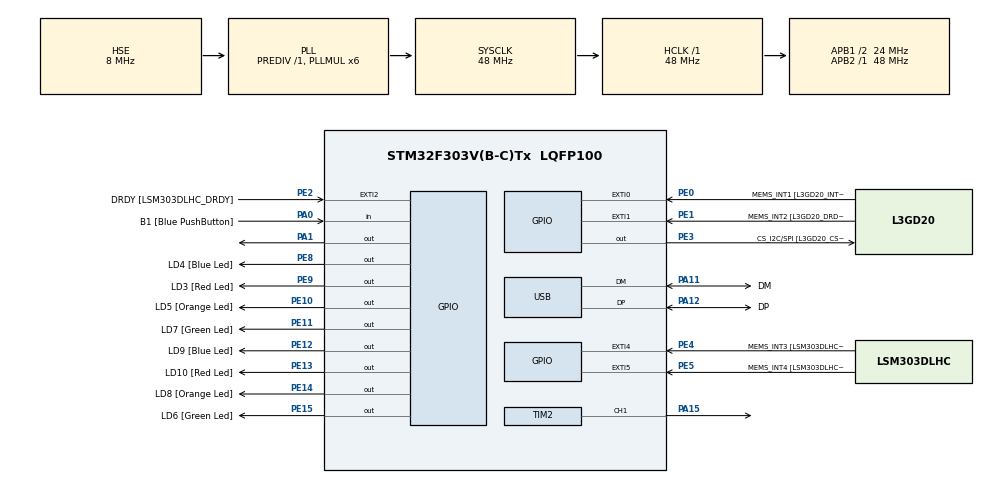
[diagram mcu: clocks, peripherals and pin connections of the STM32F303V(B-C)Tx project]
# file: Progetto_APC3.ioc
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Mcu.Family=STM32F3
Mcu.Name=STM32F303V(B-C)Tx
Mcu.Package=LQFP100
NVIC.PriorityGroup=NVIC_PRIORITYGROUP_0
NVIC.TIM7_IRQn=true\:0\:0\:false\:false\:true\:true\:true\:true
NVIC.USB_LP_CAN_RX0_IRQn=true\:0\:0\:false\:false\:true\:false\:true\:true
PA0.GPIO_Label=B1 [Blue PushButton]
PA0.Signal=GPIO_Input
PA1.Signal=GPIO_Output
PA11.GPIO_Label=DM
PA11.Mode=Device
PA11.Signal=USB_DM
PA12.GPIO_Label=DP
PA12.Mode=Device
PA12.Signal=USB_DP
PA13.GPIO_Label=SWDIO
PA13.Mode=Serial_Wire
PA13.Signal=SYS_JTMS-SWDIO
PA14.GPIO_Label=SWCLK
PA14.Mode=Serial_Wire
PA14.Signal=SYS_JTCK-SWCLK
PA15.Signal=S_TIM2_CH1_ETR
PA5.GPIO_Label=SPI1_SCK [L3GD20_SCL/SPC]
PA5.Signal=SPI1_SCK
PA6.GPIO_Label=SPI1_MISO [L3GD20_SA0/SDO]
PA6.Signal=SPI1_MISO
PA7.GPIO_Label=SPI1_MISO [L3GD20_SDA/SDI/SDO]
PA7.Signal=SPI1_MOSI
PB3.GPIO_Label=SWO
PB3.Signal=SYS_JTDO-TRACESWO
PB8.Signal=I2C1_SCL
PB9.Signal=I2C1_SDA
PC14-OSC32_IN.GPIO_Label=OSC32_IN
PC14-OSC32_IN.Signal=RCC_OSC32_IN
PC15-OSC32_OUT.GPIO_Label=OSC32_OUT
PC15-OSC32_OUT.Signal=RCC_OSC32_OUT
PE0.GPIO_Label=MEMS_INT1 [L3GD20_INT1]
PE0.GPIO_ModeDefaultEXTI=GPIO_MODE_EVT_RISING
PE0.Signal=GPXTI0
PE1.GPIO_Label=MEMS_INT2 [L3GD20_DRDY/INT2]
PE1.GPIO_ModeDefaultEXTI=GPIO_MODE_EVT_RISING
PE1.Signal=GPXTI1
PE10.GPIO_Label=LD5 [Orange Led]
PE10.Signal=GPIO_Output
PE11.GPIO_Label=LD7 [Green Led]
PE11.Signal=GPIO_Output
PE12.GPIO_Label=LD9 [Blue Led]
PE12.Signal=GPIO_Output
PE13.GPIO_Label=LD10 [Red Led]
PE13.Signal=GPIO_Output
PE14.GPIO_Label=LD8 [Orange Led]
PE14.Signal=GPIO_Output
PE15.GPIO_Label=LD6 [Green Led]
PE15.Signal=GPIO_Output
PE2.GPIO_Label=DRDY [LSM303DLHC_DRDY]
PE2.GPIO_ModeDefaultEXTI=GPIO_MODE_EVT_RISING
PE2.Signal=GPXTI2
PE3.GPIO_Label=CS_I2C/SPI [L3GD20_CS_I2C/SPI]
PE3.Signal=GPIO_Output
PE4.GPIO_Label=MEMS_INT3 [LSM303DLHC_INT1]
PE4.GPIO_ModeDefaultEXTI=GPIO_MODE_EVT_RISING
PE4.Signal=GPXTI4
PE5.GPIO_Label=MEMS_INT4 [LSM303DLHC_INT2]
PE5.GPIO_ModeDefaultEXTI=GPIO_MODE_EVT_RISING
PE5.Signal=GPXTI5
PE8.GPIO_Label=LD4 [Blue Led]
PE8.Signal=GPIO_Output
PE9.GPIO_Label=LD3 [Red Led]
PE9.Signal=GPIO_Output
PF0-OSC_IN.GPIO_Label=OSC_IN
PF0-OSC_IN.Mode=HSE-External-Oscillator
PF0-OSC_IN.Signal=RCC_OSC_IN
PF1-OSC_OUT.GPIO_Label=OSC_OUT
PF1-OSC_OUT.Mode=HSE-External-Oscillator
PF1-OSC_OUT.Signal=RCC_OSC_OUT
ProjectManager.HeapSize=0x200
ProjectManager.StackSize=0x400
ProjectManager.TargetToolchain=STM32CubeIDE
RCC.AHBFreq_Value=48000000
RCC.APB1CLKDivider=RCC_HCLK_DIV2
RCC.APB1Freq_Value=24000000
RCC.APB1TimFreq_Value=48000000
RCC.APB2Freq_Value=48000000
RCC.APB2TimFreq_Value=48000000
RCC.CortexFreq_Value=48000000
RCC.HCLKFreq_Value=48000000
RCC.HSE_VALUE=8000000
RCC.HSI_VALUE=8000000
RCC.LSE_VALUE=32768
RCC.PLLMUL=RCC_PLL_MUL6
RCC.SYSCLKFreq_VALUE=48000000
RCC.SYSCLKSourceVirtual=RCC_SYSCLKSOURCE_PLLCLK
RCC.USBFreq_Value=48000000
SH.S_TIM2_CH1_ETR.0=TIM2_CH1,PWM Generation1 CH1
TIM2.AutoReloadPreload=TIM_AUTORELOAD_PRELOAD_ENABLE
TIM2.Channel-PWM\ Generation1\ CH1=TIM_CHANNEL_1
TIM2.Period=20
TIM2.Prescaler=128-1
TIM6.Period=0xffff-1
TIM6.Prescaler=48-1
TIM7.Period=5000 - 1
TIM7.Prescaler=48000 - 1
USB_DEVICE.CLASS_NAME_FS=CDC
USB_DEVICE.VirtualMode=Cdc
USB_DEVICE.VirtualModeFS=Cdc_FS
VP_TIM2_VS_ClockSourceINT.Mode=Internal
VP_TIM6_VS_ClockSourceINT.Mode=Enable_Timer
VP_TIM7_VS_ClockSourceINT.Mode=Enable_Timer
VP_USB_DEVICE_VS_USB_DEVICE_CDC_FS.Mode=CDC_FS
board=STM32F3DISCOVERY

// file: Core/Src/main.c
/* USER CODE BEGIN Header */
/**
  ******************************************************************************
  * @file           : main.c
  * @brief          : Main program body
  ******************************************************************************
  * @attention
  *
  * Copyright (c) 2024 STMicroelectronics.
  * All rights reserved.
  *
  * This software is licensed under terms that can be found in the LICENSE file
  * in the root directory of this software component.
  * If no LICENSE file comes with this software, it is provided AS-IS.
  *
  ******************************************************************************
  */
/* USER CODE END Header */
#include "main.h"
#include "usb_device.h"

/* USER CODE BEGIN Includes */
#include "stdio.h"
#include "usbd_cdc_if.h"
/* USER CODE END Includes */

/* USER CODE BEGIN PD */
#define NUM_LED 8
#define DHT11_PORTA GPIOA
#define DHT11_PIN GPIO_PIN_1	// PA1
/* USER CODE END PD */

TIM_HandleTypeDef htim2;
TIM_HandleTypeDef htim6;
TIM_HandleTypeDef htim7;

/* USER CODE BEGIN PV */
uint8_t umid_1, umid_2, temp_1, temp_2;
uint16_t Checksum, UMID, TEMP;

float Temperatura = 0;
float Umidita = 0;
uint8_t Risultato = 0;

GPIO_TypeDef *LED_PORT = GPIOE;
uint16_t LED_PINS[NUM_LED] = {GPIO_PIN_8, GPIO_PIN_9, GPIO_PIN_10,
		GPIO_PIN_11, GPIO_PIN_12, GPIO_PIN_13, GPIO_PIN_14, GPIO_PIN_15};
/* USER CODE END PV */

void SystemClock_Config(void);
static void MX_GPIO_Init(void);
static void MX_TIM6_Init(void);
static void MX_TIM7_Init(void);
static void MX_TIM2_Init(void);

/* USER CODE BEGIN 0 */
void ritarda (uint16_t time)
{
	__HAL_TIM_SET_COUNTER(&htim6, 0);
	while ((__HAL_TIM_GET_COUNTER(&htim6))<time);
}

void invia_dati (float temp, float umid)
{
	char buffer[64];
	int length = sprintf(buffer, "Temperatura: %.2f; Umidita': %.2f\n",temp,umid);
	CDC_Transmit_FS((uint8_t*)buffer, length);
}

void aggiorna_led(float temperatura)
{
  uint8_t num_led_accesi = (uint8_t)(temperatura / 7.0);
  for (int i = 0; i < NUM_LED; i++)			// spegne tutti i LED
  {
    HAL_GPIO_WritePin(LED_PORT, LED_PINS[i], GPIO_PIN_RESET);
  }

  for (int i = 0; i < num_led_accesi; i++)	// accende un certo numero di LED
  {
    HAL_GPIO_WritePin(LED_PORT, LED_PINS[i], GPIO_PIN_SET);
  }
}

void set_pin_output (GPIO_TypeDef *GPIOx, uint16_t GPIO_Pin)
{
	GPIO_InitTypeDef GPIO_InitStruct = {0};
	GPIO_InitStruct.Pin = GPIO_Pin;
	GPIO_InitStruct.Mode = GPIO_MODE_OUTPUT_PP;	// mode: output
	GPIO_InitStruct.Speed = GPIO_SPEED_FREQ_LOW;
	HAL_GPIO_Init(GPIOx, &GPIO_InitStruct);
}

void set_pin_input (GPIO_TypeDef *GPIOx, uint16_t GPIO_Pin)
{
	GPIO_InitTypeDef GPIO_InitStruct = {0};
	GPIO_InitStruct.Pin = GPIO_Pin;
	GPIO_InitStruct.Mode = GPIO_MODE_INPUT;	// mode: input
	GPIO_InitStruct.Pull = GPIO_PULLUP;
	HAL_GPIO_Init(GPIOx, &GPIO_InitStruct);
}

void inizio_DHT11 ()
{
	set_pin_output (DHT11_PORTA, DHT11_PIN);		// setta il pin come output
	HAL_GPIO_WritePin (DHT11_PORTA, DHT11_PIN, 0);	// abbassa il pin
	ritarda (18000);								// aspetta per 18 ms
    HAL_GPIO_WritePin (DHT11_PORTA, DHT11_PIN, 1);	// alza il pin
    ritarda (20);									// aspetta per 20 us
	set_pin_input(DHT11_PORTA, DHT11_PIN);			// setta il pin come input
}

uint8_t controlla_risposta_DHT11 ()
{
	uint8_t risp = 0;
	ritarda (40);										// aspetta 40 us (in modo tale da mettersi al "centro")
	if (!(HAL_GPIO_ReadPin (DHT11_PORTA, DHT11_PIN)))	// controlla che il pin sia basso
	{
		ritarda (80);									// aspetta 80 us (sempre al "centro" del segnale)
		if ((HAL_GPIO_ReadPin (DHT11_PORTA, DHT11_PIN))) // controlla che il pin sia alto
			risp = 1;			// se è così, il sensore è presente
		else risp = -1;			// altrimenti, il sensore non è presente
	}
	while ((HAL_GPIO_ReadPin (DHT11_PORTA, DHT11_PIN)));	// aspetta che il pin torni basso
	return risp;
}

uint8_t leggi_DHT11 (void)
{
	uint8_t i,j;
	for (j=0;j<8;j++)
	{
		while (!(HAL_GPIO_ReadPin (DHT11_PORTA, DHT11_PIN)));	// aspetta che il pin sia alto
		ritarda (40);											// aspetta per 40 us
		if (!(HAL_GPIO_ReadPin (DHT11_PORTA, DHT11_PIN)))		// se il pin è basso...
		{
			i &= ~(1<<(7-j));					// ...scrive "0" nella corretta posizione...
		}
		else i |= (1<<(7-j));					// ...altrimenti scrive "1"
		while ((HAL_GPIO_ReadPin (DHT11_PORTA, DHT11_PIN)));	// aspetta che il pin sia basso
	}
	return i;	// i è il byte ricevuto
}

/* USER CODE END 0 */

int main(void)
{

  /* MCU Configuration--------------------------------------------------------*/

  /* Reset of all peripherals, Initializes the Flash interface and the Systick. */
  HAL_Init();

  /* Configure the system clock */
  SystemClock_Config();

  /* Initialize all configured peripherals */
  MX_GPIO_Init();
  MX_TIM6_Init();
  MX_USB_DEVICE_Init();
  MX_TIM7_Init();
  MX_TIM2_Init();
  /* USER CODE BEGIN 2 */
  HAL_TIM_Base_Start(&htim6);
  HAL_TIM_Base_Start_IT(&htim7);
  HAL_Delay(2000);		// necessario
  HAL_TIM_PWM_Start(&htim2, TIM_CHANNEL_1);	// per il buzzer
  /* USER CODE END 2 */

  /* Infinite loop */
  while (1)
  {
	  if(Temperatura < 15 || Temperatura > 32 || Umidita < 40 || Umidita > 70)
	        {
	    	for(int x = 10; x < 30; x++)
	    	    {
	    	      __HAL_TIM_SET_AUTORELOAD(&htim2, x*2);	// modifica la frequenza del PWM
	    	      __HAL_TIM_SET_COMPARE(&htim2,TIM_CHANNEL_1, x);	// imposta il duty cycle del PWM
	    	      HAL_Delay(100);	// attende 100ms
	    	    }
	        }
	  else __HAL_TIM_SET_COMPARE(&htim2, TIM_CHANNEL_1, 0);	// spegne il buzzer
  }
}

void SystemClock_Config(void)
{
  RCC_OscInitTypeDef RCC_OscInitStruct = {0};
  RCC_ClkInitTypeDef RCC_ClkInitStruct = {0};
  RCC_PeriphCLKInitTypeDef PeriphClkInit = {0};

  /** Initializes the RCC Oscillators according to the specified parameters
  * in the RCC_OscInitTypeDef structure.
  */
  RCC_OscInitStruct.OscillatorType = RCC_OSCILLATORTYPE_HSE;
  RCC_OscInitStruct.HSEState = RCC_HSE_ON;
  RCC_OscInitStruct.HSEPredivValue = RCC_HSE_PREDIV_DIV1;
  RCC_OscInitStruct.HSIState = RCC_HSI_ON;
  RCC_OscInitStruct.PLL.PLLState = RCC_PLL_ON;
  RCC_OscInitStruct.PLL.PLLSource = RCC_PLLSOURCE_HSE;
  RCC_OscInitStruct.PLL.PLLMUL = RCC_PLL_MUL6;
  if (HAL_RCC_OscConfig(&RCC_OscInitStruct) != HAL_OK)
  {
    Error_Handler();
  }

  /** Initializes the CPU, AHB and APB buses clocks
  */
  RCC_ClkInitStruct.ClockType = RCC_CLOCKTYPE_HCLK|RCC_CLOCKTYPE_SYSCLK
                              |RCC_CLOCKTYPE_PCLK1|RCC_CLOCKTYPE_PCLK2;
  RCC_ClkInitStruct.SYSCLKSource = RCC_SYSCLKSOURCE_PLLCLK;
  RCC_ClkInitStruct.AHBCLKDivider = RCC_SYSCLK_DIV1;
  RCC_ClkInitStruct.APB1CLKDivider = RCC_HCLK_DIV2;
  RCC_ClkInitStruct.APB2CLKDivider = RCC_HCLK_DIV1;

  if (HAL_RCC_ClockConfig(&RCC_ClkInitStruct, FLASH_LATENCY_1) != HAL_OK)
  {
    Error_Handler();
  }
  PeriphClkInit.PeriphClockSelection = RCC_PERIPHCLK_USB;
  PeriphClkInit.USBClockSelection = RCC_USBCLKSOURCE_PLL;
  if (HAL_RCCEx_PeriphCLKConfig(&PeriphClkInit) != HAL_OK)
  {
    Error_Handler();
  }
}

static void MX_TIM2_Init(void)
{

  TIM_ClockConfigTypeDef sClockSourceConfig = {0};
  TIM_MasterConfigTypeDef sMasterConfig = {0};
  TIM_OC_InitTypeDef sConfigOC = {0};

  htim2.Instance = TIM2;
  htim2.Init.Prescaler = 128-1;
  htim2.Init.CounterMode = TIM_COUNTERMODE_UP;
  htim2.Init.Period = 20;
  htim2.Init.ClockDivision = TIM_CLOCKDIVISION_DIV1;
  htim2.Init.AutoReloadPreload = TIM_AUTORELOAD_PRELOAD_ENABLE;
  if (HAL_TIM_Base_Init(&htim2) != HAL_OK)
  {
    Error_Handler();
  }
  sClockSourceConfig.ClockSource = TIM_CLOCKSOURCE_INTERNAL;
  if (HAL_TIM_ConfigClockSource(&htim2, &sClockSourceConfig) != HAL_OK)
  {
    Error_Handler();
  }
  if (HAL_TIM_PWM_Init(&htim2) != HAL_OK)
  {
    Error_Handler();
  }
  sMasterConfig.MasterOutputTrigger = TIM_TRGO_RESET;
  sMasterConfig.MasterSlaveMode = TIM_MASTERSLAVEMODE_DISABLE;
  if (HAL_TIMEx_MasterConfigSynchronization(&htim2, &sMasterConfig) != HAL_OK)
  {
    Error_Handler();
  }
  sConfigOC.OCMode = TIM_OCMODE_PWM1;
  sConfigOC.Pulse = 0;
  sConfigOC.OCPolarity = TIM_OCPOLARITY_HIGH;
  sConfigOC.OCFastMode = TIM_OCFAST_DISABLE;
  if (HAL_TIM_PWM_ConfigChannel(&htim2, &sConfigOC, TIM_CHANNEL_1) != HAL_OK)
  {
    Error_Handler();
  }
  HAL_TIM_MspPostInit(&htim2);

}

static void MX_TIM6_Init(void)
{

  TIM_MasterConfigTypeDef sMasterConfig = {0};

  htim6.Instance = TIM6;
  htim6.Init.Prescaler = 48-1;
  htim6.Init.CounterMode = TIM_COUNTERMODE_UP;
  htim6.Init.Period = 0xffff-1;
  htim6.Init.AutoReloadPreload = TIM_AUTORELOAD_PRELOAD_DISABLE;
  if (HAL_TIM_Base_Init(&htim6) != HAL_OK)
  {
    Error_Handler();
  }
  sMasterConfig.MasterOutputTrigger = TIM_TRGO_RESET;
  sMasterConfig.MasterSlaveMode = TIM_MASTERSLAVEMODE_DISABLE;
  if (HAL_TIMEx_MasterConfigSynchronization(&htim6, &sMasterConfig) != HAL_OK)
  {
    Error_Handler();
  }

}

static void MX_TIM7_Init(void)
{

  TIM_MasterConfigTypeDef sMasterConfig = {0};

  htim7.Instance = TIM7;
  htim7.Init.Prescaler = 48000 - 1;
  htim7.Init.CounterMode = TIM_COUNTERMODE_UP;
  htim7.Init.Period = 5000 - 1;
  htim7.Init.AutoReloadPreload = TIM_AUTORELOAD_PRELOAD_DISABLE;
  if (HAL_TIM_Base_Init(&htim7) != HAL_OK)
  {
    Error_Handler();
  }
  sMasterConfig.MasterOutputTrigger = TIM_TRGO_RESET;
  sMasterConfig.MasterSlaveMode = TIM_MASTERSLAVEMODE_DISABLE;
  if (HAL_TIMEx_MasterConfigSynchronization(&htim7, &sMasterConfig) != HAL_OK)
  {
    Error_Handler();
  }

}

static void MX_GPIO_Init(void)
{
  GPIO_InitTypeDef GPIO_InitStruct = {0};

  /* GPIO Ports Clock Enable */
  __HAL_RCC_GPIOE_CLK_ENABLE();
  __HAL_RCC_GPIOC_CLK_ENABLE();
  __HAL_RCC_GPIOF_CLK_ENABLE();
  __HAL_RCC_GPIOA_CLK_ENABLE();
  __HAL_RCC_GPIOB_CLK_ENABLE();

  /*Configure GPIO pin Output Level */
  HAL_GPIO_WritePin(GPIOE, CS_I2C_SPI_Pin|LD4_Pin|LD3_Pin|LD5_Pin
                          |LD7_Pin|LD9_Pin|LD10_Pin|LD8_Pin
                          |LD6_Pin, GPIO_PIN_RESET);

  /*Configure GPIO pin Output Level */
  HAL_GPIO_WritePin(GPIOA, GPIO_PIN_1, GPIO_PIN_RESET);

  /*Configure GPIO pins : DRDY_Pin MEMS_INT3_Pin MEMS_INT4_Pin MEMS_INT1_Pin
                           MEMS_INT2_Pin */
  GPIO_InitStruct.Pin = DRDY_Pin|MEMS_INT3_Pin|MEMS_INT4_Pin|MEMS_INT1_Pin
                          |MEMS_INT2_Pin;
  GPIO_InitStruct.Mode = GPIO_MODE_EVT_RISING;
  GPIO_InitStruct.Pull = GPIO_NOPULL;
  HAL_GPIO_Init(GPIOE, &GPIO_InitStruct);

  /*Configure GPIO pins : CS_I2C_SPI_Pin LD4_Pin LD3_Pin LD5_Pin
                           LD7_Pin LD9_Pin LD10_Pin LD8_Pin
                           LD6_Pin */
  GPIO_InitStruct.Pin = CS_I2C_SPI_Pin|LD4_Pin|LD3_Pin|LD5_Pin
                          |LD7_Pin|LD9_Pin|LD10_Pin|LD8_Pin
                          |LD6_Pin;
  GPIO_InitStruct.Mode = GPIO_MODE_OUTPUT_PP;
  GPIO_InitStruct.Pull = GPIO_NOPULL;
  GPIO_InitStruct.Speed = GPIO_SPEED_FREQ_LOW;
  HAL_GPIO_Init(GPIOE, &GPIO_InitStruct);

  /*Configure GPIO pin : B1_Pin */
  GPIO_InitStruct.Pin = B1_Pin;
  GPIO_InitStruct.Mode = GPIO_MODE_INPUT;
  GPIO_InitStruct.Pull = GPIO_NOPULL;
  HAL_GPIO_Init(B1_GPIO_Port, &GPIO_InitStruct);

  /*Configure GPIO pin : PA1 */
  GPIO_InitStruct.Pin = GPIO_PIN_1;
  GPIO_InitStruct.Mode = GPIO_MODE_OUTPUT_PP;
  GPIO_InitStruct.Pull = GPIO_NOPULL;
  GPIO_InitStruct.Speed = GPIO_SPEED_FREQ_LOW;
  HAL_GPIO_Init(GPIOA, &GPIO_InitStruct);

  /*Configure GPIO pins : SPI1_SCK_Pin SPI1_MISO_Pin SPI1_MISOA7_Pin */
  GPIO_InitStruct.Pin = SPI1_SCK_Pin|SPI1_MISO_Pin|SPI1_MISOA7_Pin;
  GPIO_InitStruct.Mode = GPIO_MODE_AF_PP;
  GPIO_InitStruct.Pull = GPIO_NOPULL;
  GPIO_InitStruct.Speed = GPIO_SPEED_FREQ_HIGH;
  GPIO_InitStruct.Alternate = GPIO_AF5_SPI1;
  HAL_GPIO_Init(GPIOA, &GPIO_InitStruct);

  /*Configure GPIO pins : PB8 PB9 */
  GPIO_InitStruct.Pin = GPIO_PIN_8|GPIO_PIN_9;
  GPIO_InitStruct.Mode = GPIO_MODE_AF_OD;
  GPIO_InitStruct.Pull = GPIO_NOPULL;
  GPIO_InitStruct.Speed = GPIO_SPEED_FREQ_HIGH;
  GPIO_InitStruct.Alternate = GPIO_AF4_I2C1;
  HAL_GPIO_Init(GPIOB, &GPIO_InitStruct);

}

/* USER CODE BEGIN 4 */
void HAL_TIM_PeriodElapsedCallback(TIM_HandleTypeDef *htim)
//  funzione chiamata automaticamente quando...
// ...scade il periodo di un timer configurato
{
  if (htim == &htim7)	// TIM7
  {
    inizio_DHT11();
    Risultato = controlla_risposta_DHT11();

    umid_1 = leggi_DHT11();		// 1o byte
    umid_2 = leggi_DHT11();		// 2o byte
    temp_1 = leggi_DHT11();		// 3o byte
    temp_2 = leggi_DHT11();		// 4o byte
    Checksum = leggi_DHT11();	// 5o byte (non usato)

    TEMP = (temp_1 << 8) | temp_2;
    Temperatura = (float) (TEMP);
    Temperatura /= 256.0;		// temperatura misurata

    UMID = (umid_1 << 8) | umid_1;
    Umidita = (float) (UMID);
    Umidita /= 256.0;			// umidità relativa misurata

    invia_dati(Temperatura, Umidita);
    aggiorna_led(Temperatura);
  }
}
/* USER CODE END 4 */

void Error_Handler(void)
{
  __disable_irq();
  while (1)
  {
  }
}
